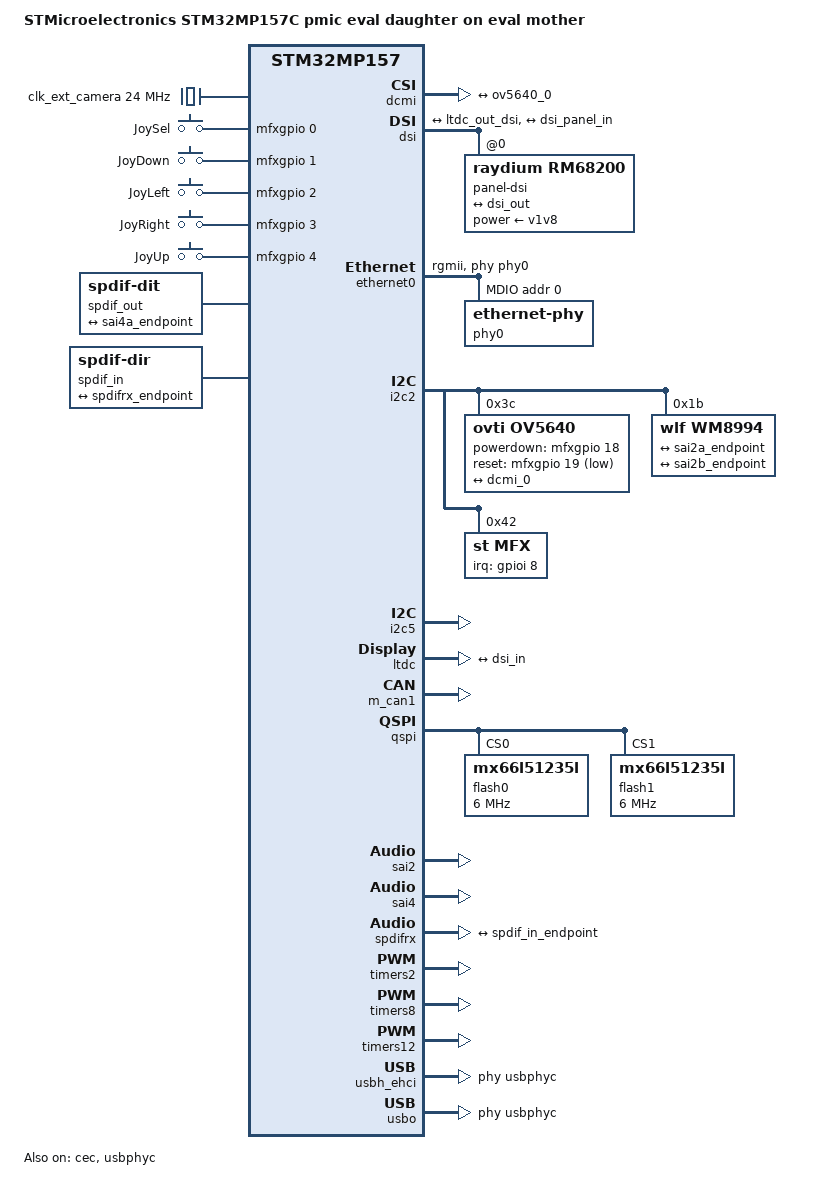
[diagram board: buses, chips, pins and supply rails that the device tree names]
/* SPDX-License-Identifier: (GPL-2.0+ OR BSD-3-Clause) */
/*
 * Copyright (C) STMicroelectronics 2017 - All Rights Reserved
 * Author: Ludovic Barre <ludovic.barre@st.com> for STMicroelectronics.
 */

/dts-v1/;
#include "stm32mp157c-ed1.dts"
#include <dt-bindings/input/input.h>
#include <dt-bindings/gpio/st-mfx-gpio.h>

/ {
	model = "STMicroelectronics STM32MP157C pmic eval daughter on eval mother";
	compatible = "st,stm32mp157c-ev1", "st,stm32mp157c-ed1", "st,stm32mp157";

	chosen {
		bootargs = "earlyprintk console=ttyS3,115200 root=/dev/ram";
		stdout-path = "serial3:115200n8";
	};

	aliases {
		ethernet0 = &ethernet0;
	};

	clocks {
		clk_ext_camera: clk-ext-camera {
			#clock-cells = <0>;
			compatible = "fixed-clock";
			clock-frequency = <24000000>;
		};
	};

	joystick {
		compatible = "gpio-keys";
		#address-cells = <1>;
		#size-cells = <0>;
		button@0 {
			label = "JoySel";
			linux,code = <KEY_ENTER>;
			gpios = <&mfxgpio 0 (GPIO_IN_PUSH_PULL | GPIO_PULL_DOWN)>;
		};
		button@1 {
			label = "JoyDown";
			linux,code = <KEY_DOWN>;
			gpios = <&mfxgpio 1 (GPIO_IN_PUSH_PULL | GPIO_PULL_DOWN)>;
		};
		button@2 {
			label = "JoyLeft";
			linux,code = <KEY_LEFT>;
			gpios = <&mfxgpio 2 (GPIO_IN_PUSH_PULL | GPIO_PULL_DOWN)>;
		};
		button@3 {
			label = "JoyRight";
			linux,code = <KEY_RIGHT>;
			gpios = <&mfxgpio 3 (GPIO_IN_PUSH_PULL | GPIO_PULL_DOWN)>;
		};
		button@4 {
			label = "JoyUp";
			linux,code = <KEY_UP>;
			gpios = <&mfxgpio 4 (GPIO_IN_PUSH_PULL | GPIO_PULL_DOWN)>;
		};
	};

	spdif_out: spdif-out {
		#sound-dai-cells = <0>;
		compatible = "linux,spdif-dit";
		status = "okay";

		spdif_out_port: port@0 {
			spdif_out_endpoint: endpoint {
				remote-endpoint = <&sai4a_endpoint>;
			};
		};
	};

	spdif_in: spdif-in {
		#sound-dai-cells = <0>;
		compatible = "linux,spdif-dir";
		status = "okay";

		spdif_in_port: port@0 {
			spdif_in_endpoint: endpoint {
				remote-endpoint = <&spdifrx_endpoint>;
			};
		};
	};

	sound {
		compatible = "audio-graph-card";
		routing =
			"DMIC2DAT" , "MICBIAS1",
			"DMIC1DAT" , "MICBIAS1";
		dais = <&sai2a_port &sai2b_port &sai4a_port &spdifrx_port>;
		status = "okay";
	};
};

&cec {
	pinctrl-names = "default";
	pinctrl-0 = <&cec_pins_a>;
	status = "okay";
};

&dcmi {
	status = "okay";
	pinctrl-names = "default";
	pinctrl-0 = <&dcmi_pins_a>;

	port {
		dcmi_0: endpoint {
			remote-endpoint = <&ov5640_0>;
			bus-width = <8>;
			hsync-active = <0>;
			vsync-active = <1>;
			pclk-sample = <1>;
		};
	};
};

&dsi {
	#address-cells = <1>;
	#size-cells = <0>;
	status = "okay";

	ports {
		#address-cells = <1>;
		#size-cells = <0>;

		port@0 {
			reg = <0>;
			dsi_in: endpoint {
				remote-endpoint = <&ltdc_out_dsi>;
			};
		};

		port@1 {
			reg = <1>;
			dsi_out: endpoint {
				remote-endpoint = <&dsi_panel_in>;
			};
		};
	};

	panel-dsi@0 {
		compatible = "raydium,rm68200";
		reg = <0>; /* dsi virtual channel (0..3) */
		power-supply = <&v1v8>;
		status = "okay";

		port {
			dsi_panel_in: endpoint {
				remote-endpoint = <&dsi_out>;
			};
		};
	};
};

&ethernet0 {
	status = "okay";
	pinctrl-0 = <&ethernet0_rgmii_pins_a>;
	pinctrl-names = "default";
	phy-mode = "rgmii";
	max-speed = <1000>;
	phy-handle = <&phy0>;

	mdio0 {
		#address-cells = <1>;
		#size-cells = <0>;
		compatible = "snps,dwmac-mdio";
		phy0: ethernet-phy@0 {
			reg = <0>;
		};
	};
};

&fmc_nand {
	pinctrl-names = "default";
	pinctrl-0 = <&fmc_pins_a>;
	nand-on-flash-bbt;
	#address-cells = <1>;
	#size-cells = <1>;
	status = "disabled";

	partition@0 {
		label = "nand-boot";
		reg = <0x00000000 0x01400000>;
	};

	partition@1400000 {
		label = "nand-fs";
		reg = <0x01400000 0x06400000>;
	};
};

&i2c2 {
	pinctrl-names = "default";
	pinctrl-0 = <&i2c2_pins_a>;
	i2c-scl-rising-time-ns = <185>;
	i2c-scl-falling-time-ns = <20>;
	status = "okay";

	ov5640: camera@3c {
		compatible = "ovti,ov5640";
		reg = <0x3c>;
		clocks = <&clk_ext_camera>;
		clock-names = "xclk";
		status = "okay";
		powerdown-gpios = <&mfxgpio 18 GPIO_ACTIVE_HIGH>;
		reset-gpios = <&mfxgpio 19 GPIO_ACTIVE_LOW>;

		port {
			ov5640_0: endpoint {
				remote-endpoint = <&dcmi_0>;
			};
		};
	};

	wm8994: wm8994@1b {
		compatible = "wlf,wm8994";
		#sound-dai-cells = <0>;
		reg = <0x1b>;
		status = "okay";

		gpio-controller;
		#gpio-cells = <2>;

		wlf,gpio-cfg = <0x8101 0xa101 0xa101 0xa101 0xa101 0xa101 0xa101 0xa101 0xa101 0xa101 0xa101>;

		ports {
			#address-cells = <1>;
			#size-cells = <0>;

			wm8994_tx_port: port@0 {
				wm8994_tx_endpoint: endpoint {
					remote-endpoint = <&sai2a_endpoint>;
				};
			};

			wm8994_rx_port: port@1 {
				wm8994_rx_endpoint: endpoint {
					remote-endpoint = <&sai2b_endpoint>;
				};
			};
		};
	};

	mfx: mfx@42 {
		compatible = "st,mfx";
		reg = <0x42>;
		interrupts = <8 IRQ_TYPE_EDGE_RISING>;
		interrupt-parent = <&gpioi>;
		interrupt-controller;
		#interrupt-cells = <2>;

		mfxgpio: mfx_gpio {
			compatible = "st,mfx-gpio";
			gpio-controller;
			#gpio-cells = <2>;
		};
	};
};

&i2c5 {
	pinctrl-names = "default";
	pinctrl-0 = <&i2c5_pins_a>;
	i2c-scl-rising-time-ns = <185>;
	i2c-scl-falling-time-ns = <20>;
	status = "okay";
};

&ltdc {
	status = "okay";

	port {
		#address-cells = <1>;
		#size-cells = <0>;

		ltdc_out_dsi: endpoint@0 {
			reg = <0>;
			remote-endpoint = <&dsi_in>;
		};
	};
};

&m_can1 {
	pinctrl-names = "default";
	pinctrl-0 = <&m_can1_pins_a>;
	status = "okay";
};

&qspi {
	pinctrl-names = "default";
	pinctrl-0 = <&qspi_clk_pins_a &qspi_bk1_pins_a &qspi_bk2_pins_a>;
	reg = <0x58003000 0x1000>, <0x70000000 0x4000000>;
	#address-cells = <1>;
	#size-cells = <0>;
	status = "okay";

	flash0: mx66l51235l@0 {
		reg = <0>;
		spi-rx-bus-width = <4>;
		spi-max-frequency = <6000000>;
		#address-cells = <1>;
		#size-cells = <1>;
	};

	flash1: mx66l51235l@1 {
		reg = <1>;
		spi-rx-bus-width = <4>;
		spi-max-frequency = <6000000>;
		#address-cells = <1>;
		#size-cells = <1>;
	};
};

/*
 * &adc: ANA0, ANA1 and IN6 can be used on Motor Control connector.
 * Pre-requisite: Must solder on board resp. SB9, SB10 and SB16.
 * Note: By default, these signals are connected on stm32mp157c eval daughter
 * board (configured in stm32mp157c-ed dts).
 */

&sai2 {
	clocks = <&rcc_clk SAI2>, <&rcc_clk PLL3_Q>, <&rcc_clk PLL4_Q>;
	clock-names = "pclk", "x8k", "x11k";
	status = "okay";

	sai2a: audio-controller@4400b004 {
		pinctrl-names = "default";
		pinctrl-0 = <&sai2a_pins_a>;
		dma-names = "tx";
		status = "okay";

		sai2a_port: port@0 {
			sai2a_endpoint: endpoint {
				remote-endpoint = <&wm8994_tx_endpoint>;
				format = "i2s";
				mclk-fs = <256>;
			};
		};
	};

	sai2b: audio-controller@4400b024 {
		pinctrl-names = "default";
		pinctrl-0 = <&sai2b_pins_a>;
		dma-names = "rx";
		st,sync = <&sai2a 2>;
		status = "okay";

		sai2b_port: port@0 {
			sai2b_endpoint: endpoint {
				remote-endpoint = <&wm8994_rx_endpoint>;
				format = "i2s";
				mclk-fs = <256>;
			};
		};
	};
};

&sai4 {
	clocks = <&rcc_clk SAI4>, <&rcc_clk PLL3_Q>, <&rcc_clk PLL4_Q>;
	clock-names = "pclk", "x8k", "x11k";
	status = "okay";

	sai4a: audio-controller@50027004 {
		pinctrl-names = "default";
		pinctrl-0 = <&sai4a_pins_a>;
		dma-names = "tx";
		st,iec60958;
		status = "okay";

		sai4a_port: port@0 {
			sai4a_endpoint: endpoint {
				remote-endpoint = <&spdif_out_endpoint>;
			};
		};
	};
};

&sdmmc3 {
	pinctrl-names = "default";
	pinctrl-0 = <&sdmmc3_b4_pins_a>;
	broken-cd;
	st,dirpol;
	st,negedge;
	bus-width = <4>;
	status = "disabled";
};

&spdifrx {
	pinctrl-0 = <&spdifrx_pins_a>;
	pinctrl-names = "default";
	status = "okay";

	spdifrx_port: port@0 {
		spdifrx_endpoint: endpoint {
			remote-endpoint = <&spdif_in_endpoint>;
		};
	};
};

&spi1 {
	pinctrl-names = "default";
	pinctrl-0 = <&spi1_pins_a>;
	status = "disabled";
};

&timers2 {
	status = "okay";
	pwm {
		pinctrl-0 = <&pwm2_pins_a>;
		pinctrl-names = "default";
		status = "okay";
	};
	timer@1 {
		status = "okay";
	};
};

&timers8 {
	status = "okay";
	pwm {
		pinctrl-0 = <&pwm8_pins_a>;
		pinctrl-names = "default";
		status = "okay";
	};
	timer@7 {
		status = "okay";
	};
};

&timers12 {
	status = "okay";
	pwm {
		pinctrl-0 = <&pwm12_pins_a>;
		pinctrl-names = "default";
		status = "okay";
	};
	timer@11 {
		status = "okay";
	};
};

&usart3 {
	pinctrl-names = "default";
	pinctrl-0 = <&usart3_pins_a>;
	st,hw-flow-ctrl;
	status = "disabled";
};

&usbh_ehci {
	phys = <&usbphyc 0>;
	phy-names = "usb";
	status = "okay";
};

&usbo {
	pinctrl-names = "default";
	pinctrl-0 = <&usbo_pins_a>;
	phys = <&usbphyc 1>;
	phy-names = "usb2-phy";
	status = "okay";
};

&usbphyc {
	status = "okay";
};
